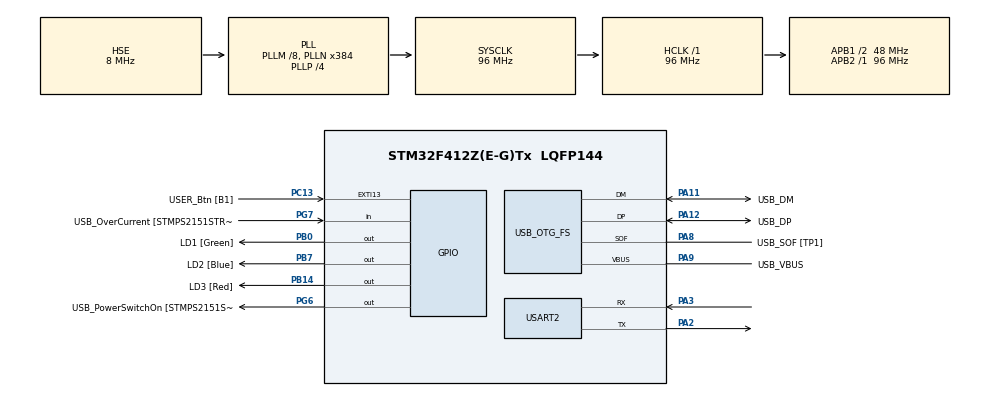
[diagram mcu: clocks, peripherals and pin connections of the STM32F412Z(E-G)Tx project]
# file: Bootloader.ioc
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Mcu.Family=STM32F4
Mcu.Name=STM32F412Z(E-G)Tx
Mcu.Package=LQFP144
NVIC.OTG_FS_IRQn=true\:0\:0\:false\:false\:true\:false\:true
NVIC.PriorityGroup=NVIC_PRIORITYGROUP_4
PA10.GPIO_Label=USB_ID
PA10.Signal=USB_OTG_FS_ID
PA11.GPIO_Label=USB_DM
PA11.Mode=Device_Only
PA11.Signal=USB_OTG_FS_DM
PA12.GPIO_Label=USB_DP
PA12.Mode=Device_Only
PA12.Signal=USB_OTG_FS_DP
PA13.GPIO_Label=TMS
PA13.Mode=Serial_Wire
PA13.Signal=SYS_JTMS-SWDIO
PA14.GPIO_Label=TCK
PA14.Mode=Serial_Wire
PA14.Signal=SYS_JTCK-SWCLK
PA2.Mode=Asynchronous
PA2.Signal=USART2_TX
PA3.Mode=Asynchronous
PA3.Signal=USART2_RX
PA8.GPIO_Label=USB_SOF [TP1]
PA8.Mode=Activate_SOF_FS
PA8.Signal=USB_OTG_FS_SOF
PA9.GPIO_Label=USB_VBUS
PA9.Mode=Activate_VBUS
PA9.Signal=USB_OTG_FS_VBUS
PB0.GPIO_Label=LD1 [Green]
PB0.Signal=GPIO_Output
PB14.GPIO_Label=LD3 [Red]
PB14.Signal=GPIO_Output
PB3.GPIO_Label=SWO
PB3.Signal=SYS_JTDO-SWO
PB7.GPIO_Label=LD2 [Blue]
PB7.Signal=GPIO_Output
PC13.GPIO_Label=USER_Btn [B1]
PC13.Signal=GPXTI13
PC14-OSC32_IN.Mode=LSE-External-Oscillator
PC14-OSC32_IN.Signal=RCC_OSC32_IN
PC15-OSC32_OUT.Mode=LSE-External-Oscillator
PC15-OSC32_OUT.Signal=RCC_OSC32_OUT
PD8.GPIO_Label=STLK_RX [STM32F103CBT6_PA3]
PD8.Signal=USART3_TX
PD9.GPIO_Label=STLK_TX [STM32F103CBT6_PA2]
PD9.Signal=USART3_RX
PG6.GPIO_Label=USB_PowerSwitchOn [STMPS2151STR_EN]
PG6.Signal=GPIO_Output
PG7.GPIO_Label=USB_OverCurrent [STMPS2151STR_FAULT]
PG7.Signal=GPIO_Input
PH0\ -\ OSC_IN.GPIO_Label=MCO
PH0\ -\ OSC_IN.Mode=HSE-External-Clock-Source
PH0\ -\ OSC_IN.Signal=RCC_OSC_IN
PH1\ -\ OSC_OUT.Mode=HSE-External-Clock-Source
PH1\ -\ OSC_OUT.Signal=RCC_OSC_OUT
ProjectManager.HeapSize=0x200
ProjectManager.StackSize=0x400
ProjectManager.TargetToolchain=STM32CubeIDE
RCC.48MHZClocksFreq_Value=24000000
RCC.AHBFreq_Value=96000000
RCC.APB1CLKDivider=RCC_HCLK_DIV2
RCC.APB1Freq_Value=48000000
RCC.APB1TimFreq_Value=96000000
RCC.APB2Freq_Value=96000000
RCC.APB2TimFreq_Value=96000000
RCC.CortexFreq_Value=96000000
RCC.HCLKFreq_Value=96000000
RCC.HSE_VALUE=8000000
RCC.HSI_VALUE=16000000
RCC.PLLM=8
RCC.PLLMUL=RCC_PLL_MUL9
RCC.PLLN=384
RCC.PLLP=RCC_PLLP_DIV4
RCC.PLLQ=8
RCC.PRESCALERUSB=RCC_USBCLKSOURCE_PLL_DIV1_5
RCC.SYSCLKFreq_VALUE=96000000
RCC.SYSCLKSource=RCC_SYSCLKSOURCE_PLLCLK
RCC.SYSCLKSourceVirtual=RCC_SYSCLKSOURCE_PLLCLK
RCC.USBFreq_Value=48000000
RCC.VCOOutputFreq_Value=384000000
USART2.VirtualMode=VM_ASYNC
USB_DEVICE.CLASS_NAME_FS=DFU
USB_DEVICE.USBD_DFU_APP_DEFAULT_ADD=0x08010000
USB_DEVICE.USBD_DFU_MEDIA=@Internal Flash   /0x08000000/04*016Ka,01*064Kg,07*128Kg
USB_DEVICE.VirtualMode=Dfu
USB_DEVICE.VirtualModeFS=Dfu_FS
USB_OTG_FS.VirtualMode=Device_Only
VP_USB_DEVICE_VS_USB_DEVICE_DFU_FS.Mode=DFU_FS
board=NUCLEO-F412ZG

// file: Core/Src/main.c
/* USER CODE BEGIN Header */
/**
  ******************************************************************************
  * @file           : main.c
  * @brief          : Main program body
  ******************************************************************************
  * @attention
  *
  * <h2><center>&copy; Copyright (c) 2022 STMicroelectronics.
  * All rights reserved.</center></h2>
  *
  * This software component is licensed by ST under Ultimate Liberty license
  * SLA0044, the "License"; You may not use this file except in compliance with
  * the License. You may obtain a copy of the License at:
  *                             www.st.com/SLA0044
  *
  ******************************************************************************
  */
/* USER CODE END Header */
#include "main.h"
#include "usart.h"
#include "usb_device.h"
#include "gpio.h"

/* USER CODE BEGIN PTD */
typedef  void (*pFunction)(void);

pFunction JumpToApplication;
uint32_t JumpAddress;
/* USER CODE END PTD */

void SystemClock_Config(void);

/* USER CODE BEGIN 0 */
int __io_putchar(int ch)
{
	HAL_UART_Transmit(&huart2, (uint8_t *)&ch, 1, 1);
	return ch;
}

void go2APP(void)
{
  uint32_t JumpAddress;
  pFunction Jump_To_Application;

  printf("BOOTLOADER Start ! \r\n");

  //check if there is something "installed" in the app FLASH region
  if (((*(__IO uint32_t*) USBD_DFU_APP_DEFAULT_ADD - 1) & 0x2FFC0000) == 0x20000000)
  {
    printf("APP Start... \r\n");
    HAL_Delay(100);
    // Jump to user application
    JumpAddress = *(__IO uint32_t*) (USBD_DFU_APP_DEFAULT_ADD + 4);
    Jump_To_Application = (pFunction) JumpAddress;

    /* initialize peripheral, clock, hal etc. */
//    HAL_UART_MspDeInit(&huart2);
//    MX_GPIO_DeInit();
    HAL_RCC_DeInit();
//    HAL_DeInit();

//    SysTick->CTRL = 0;
//    SysTick->LOAD = 0;
//    SysTick->VAL  = 0;

    // Initialize user application's Stack Pointer
    __set_MSP(*(__IO uint32_t*) USBD_DFU_APP_DEFAULT_ADD);
    Jump_To_Application();
  }
  else
  {
    // there is no application installed
    printf("No APP found!! \r\n");
  }
}
/* USER CODE END 0 */

int main(void)
{

  /* MCU Configuration--------------------------------------------------------*/

  /* Reset of all peripherals, Initializes the Flash interface and the Systick. */
  HAL_Init();

  /* Configure the system clock */
  SystemClock_Config();

  /* Initialize all configured peripherals */
  MX_GPIO_Init();
  MX_USART2_UART_Init();
  MX_USB_DEVICE_Init();

  /* Infinite loop */
  while (1)
  {

    /* USER CODE BEGIN 3 */
	  go2APP();
	  HAL_Delay(1000);
  }
  /* USER CODE END 3 */
}

void SystemClock_Config(void)
{
  RCC_OscInitTypeDef RCC_OscInitStruct = {0};
  RCC_ClkInitTypeDef RCC_ClkInitStruct = {0};
  RCC_PeriphCLKInitTypeDef PeriphClkInitStruct = {0};

  /** Configure the main internal regulator output voltage
  */
  __HAL_RCC_PWR_CLK_ENABLE();
  __HAL_PWR_VOLTAGESCALING_CONFIG(PWR_REGULATOR_VOLTAGE_SCALE1);
  /** Initializes the RCC Oscillators according to the specified parameters
  * in the RCC_OscInitTypeDef structure.
  */
  RCC_OscInitStruct.OscillatorType = RCC_OSCILLATORTYPE_HSE;
  RCC_OscInitStruct.HSEState = RCC_HSE_BYPASS;
  RCC_OscInitStruct.PLL.PLLState = RCC_PLL_ON;
  RCC_OscInitStruct.PLL.PLLSource = RCC_PLLSOURCE_HSE;
  RCC_OscInitStruct.PLL.PLLM = 8;
  RCC_OscInitStruct.PLL.PLLN = 384;
  RCC_OscInitStruct.PLL.PLLP = RCC_PLLP_DIV4;
  RCC_OscInitStruct.PLL.PLLQ = 8;
  RCC_OscInitStruct.PLL.PLLR = 2;
  if (HAL_RCC_OscConfig(&RCC_OscInitStruct) != HAL_OK)
  {
    Error_Handler();
  }
  /** Initializes the CPU, AHB and APB buses clocks
  */
  RCC_ClkInitStruct.ClockType = RCC_CLOCKTYPE_HCLK|RCC_CLOCKTYPE_SYSCLK
                              |RCC_CLOCKTYPE_PCLK1|RCC_CLOCKTYPE_PCLK2;
  RCC_ClkInitStruct.SYSCLKSource = RCC_SYSCLKSOURCE_PLLCLK;
  RCC_ClkInitStruct.AHBCLKDivider = RCC_SYSCLK_DIV1;
  RCC_ClkInitStruct.APB1CLKDivider = RCC_HCLK_DIV2;
  RCC_ClkInitStruct.APB2CLKDivider = RCC_HCLK_DIV1;

  if (HAL_RCC_ClockConfig(&RCC_ClkInitStruct, FLASH_LATENCY_3) != HAL_OK)
  {
    Error_Handler();
  }
  PeriphClkInitStruct.PeriphClockSelection = RCC_PERIPHCLK_CLK48;
  PeriphClkInitStruct.Clk48ClockSelection = RCC_CLK48CLKSOURCE_PLLQ;
  if (HAL_RCCEx_PeriphCLKConfig(&PeriphClkInitStruct) != HAL_OK)
  {
    Error_Handler();
  }
}

void Error_Handler(void)
{
  __disable_irq();
  while (1)
  {
  }
}

/************************ (C) COPYRIGHT STMicroelectronics *****END OF FILE****/
